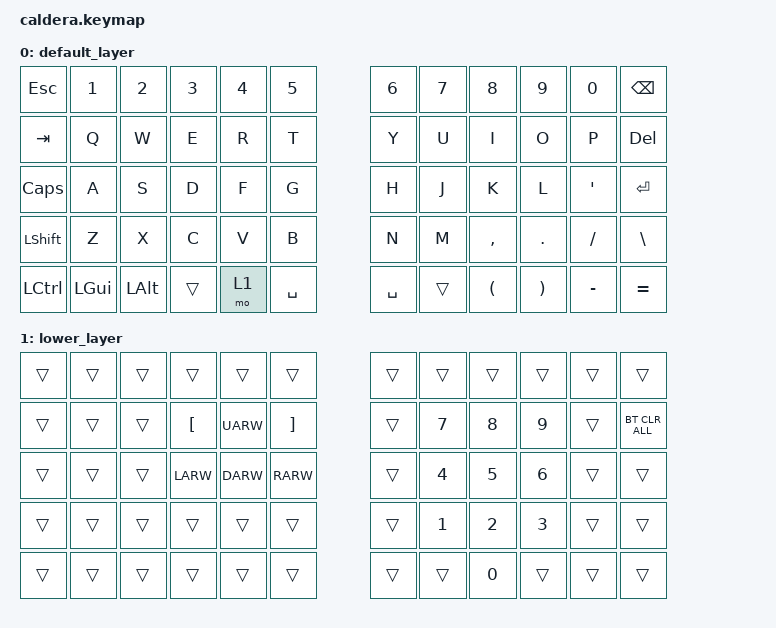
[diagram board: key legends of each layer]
#include <behaviors.dtsi>
#include <dt-bindings/zmk/keys.h>
#include <dt-bindings/zmk/bt.h>

/ {
        keymap {
                compatible = "zmk,keymap";

                default_layer {
// ---------------------------------------------------------------------------------
// | ESC  |  1  |  2  |  3  |  4  |  5  |     |  6  |  7  |  8  |  9  |  0  | BKSP |
// | TAB  |  Q  |  W  |  E  |  R  |  T  |     |  Y  |  U  |  I  |  O  |  P  |  DEL |
// | CAPS |  A  |  S  |  D  |  F  |  G  |     |  H  |  J  |  K  |  L  | APOS|  ENT |
// | SHFT |  Z  |  X  |  C  |  V  |  B  |     |  N  |  M  |  ,  |  .  |  /  |  \   |
// | CTRL | GUI | ALT |     | LOW | SPC |     | SPC |     |  (  |  )  |  -  |   =  |
                        bindings = <
   &kp ESC  &kp N1    &kp N2    &kp N3     &kp N4     &kp N5               &kp N6     &kp N7  &kp N8     &kp N9    &kp N0    &kp BSPC
   &kp TAB    &kp Q     &kp W     &kp E      &kp R      &kp T              &kp Y      &kp U   &kp I      &kp O     &kp P     &kp DEL
   &kp CAPS   &kp A     &kp S     &kp D      &kp F      &kp G              &kp H      &kp J   &kp K      &kp L     &kp APOS  &kp RET
   &kp LSHFT  &kp Z     &kp X     &kp C      &kp V      &kp B              &kp N      &kp M   &kp COMMA  &kp DOT   &kp FSLH  &kp BSLH
   &kp LCTRL  &kp LGUI  &kp LALT  &trans     &mo 1      &kp SPACE          &kp SPACE  &trans  &kp LPAR   &kp RPAR  &kp MINUS &kp EQUAL
                        >;
                };
                lower_layer {
// ------------------------------------------------------------------------------------------------------------
// |       |       |       |       |       |       |          |       |       |       |       |       |       |
// |       |       |   [   | LUARW |   ]   |       |          |       |   7   |   8   |   9   |       |       |
// |       |       |  LARW | LDARW | RARW  |       |          |       |   4   |   5   |   6   |       |       |
// |       |       |       |       |       |       |          |       |   1   |   2   |   3   |       |       |
// |       |       |       |       |       |       |          |       |       |   0   |       |       |       |
                        bindings = <
   &trans    &trans         &trans         &trans         &trans         &trans                 &trans    &trans    &trans   &trans   &trans  &trans
   &trans    &trans         &trans         &kp LBKT       &kp UARW       &kp RBKT               &trans    &kp N7    &kp N8   &kp N9   &trans  &bt BT_CLR_ALL
   &trans    &trans         &trans         &kp LARW       &kp DARW       &kp RARW               &trans    &kp N4    &kp N5   &kp N6   &trans  &trans
   &trans    &trans         &trans         &trans         &trans         &trans                 &trans    &kp N1    &kp N2   &kp N3   &trans  &trans
   &trans    &trans         &trans         &trans         &trans         &trans                 &trans    &trans    &kp N0   &trans   &trans  &trans
                        >;
                };
        };
};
